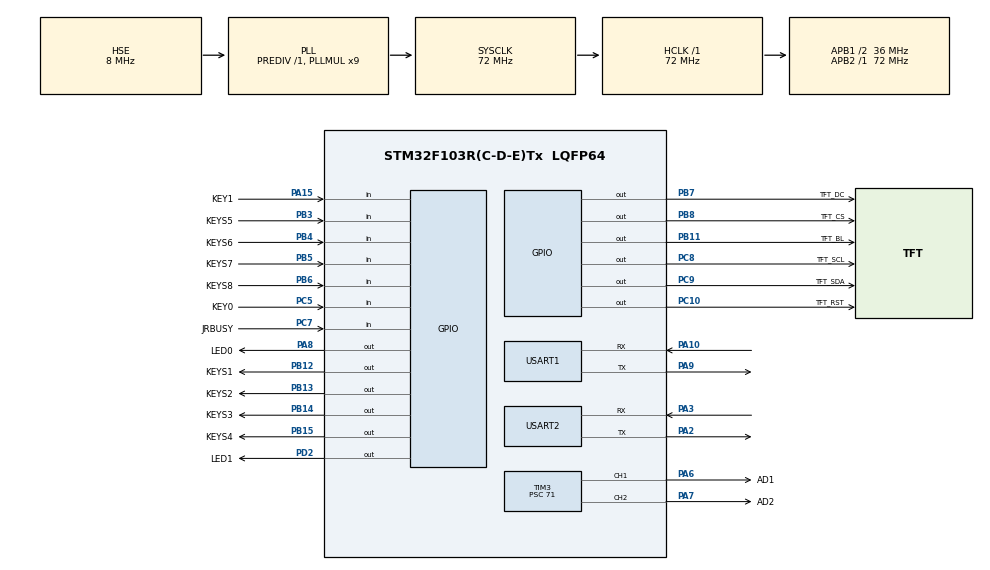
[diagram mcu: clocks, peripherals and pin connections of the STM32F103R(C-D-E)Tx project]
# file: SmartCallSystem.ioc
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Mcu.Family=STM32F1
Mcu.Name=STM32F103R(C-D-E)Tx
Mcu.Package=LQFP64
NVIC.PriorityGroup=NVIC_PRIORITYGROUP_4
PA0-WKUP.Mode=SYS_WakeUp0
PA0-WKUP.Signal=SYS_WKUP
PA10.Mode=Asynchronous
PA10.Signal=USART1_RX
PA13.Mode=Serial_Wire
PA13.Signal=SYS_JTMS-SWDIO
PA14.Mode=Serial_Wire
PA14.Signal=SYS_JTCK-SWCLK
PA15.GPIO_Label=KEY1
PA15.Signal=GPIO_Input
PA2.Mode=Asynchronous
PA2.Signal=USART2_TX
PA3.Mode=Asynchronous
PA3.Signal=USART2_RX
PA6.GPIO_Label=AD1
PA6.GPIO_ModeDefaultPP=GPIO_MODE_AF_PP
PA6.GPIO_Speed=GPIO_SPEED_FREQ_HIGH
PA6.Signal=S_TIM3_CH1
PA7.GPIO_Label=AD2
PA7.GPIO_ModeDefaultPP=GPIO_MODE_AF_PP
PA7.GPIO_Speed=GPIO_SPEED_FREQ_HIGH
PA7.Signal=S_TIM3_CH2
PA8.GPIO_Label=LED0
PA8.Signal=GPIO_Output
PA9.Mode=Asynchronous
PA9.Signal=USART1_TX
PB11.GPIO_Label=TFT_BL
PB11.Signal=GPIO_Output
PB12.GPIO_Label=KEYS1
PB12.GPIO_ModeDefaultOutputPP=GPIO_MODE_OUTPUT_PP
PB12.PinState=GPIO_PIN_SET
PB12.Signal=GPIO_Output
PB13.GPIO_Label=KEYS2
PB13.PinState=GPIO_PIN_SET
PB13.Signal=GPIO_Output
PB14.GPIO_Label=KEYS3
PB14.PinState=GPIO_PIN_SET
PB14.Signal=GPIO_Output
PB15.GPIO_Label=KEYS4
PB15.PinState=GPIO_PIN_SET
PB15.Signal=GPIO_Output
PB3.GPIO_Label=KEYS5
PB3.Signal=GPIO_Input
PB4.GPIO_Label=KEYS6
PB4.Signal=GPIO_Input
PB5.GPIO_Label=KEYS7
PB5.Signal=GPIO_Input
PB6.GPIO_Label=KEYS8
PB6.Signal=GPIO_Input
PB7.GPIO_Label=TFT_DC
PB7.Signal=GPIO_Output
PB8.GPIO_Label=TFT_CS
PB8.Signal=GPIO_Output
PC10.GPIO_Label=TFT_RST
PC10.Signal=GPIO_Output
PC14-OSC32_IN.Mode=LSE-External-Oscillator
PC14-OSC32_IN.Signal=RCC_OSC32_IN
PC15-OSC32_OUT.Mode=LSE-External-Oscillator
PC15-OSC32_OUT.Signal=RCC_OSC32_OUT
PC5.GPIO_Label=KEY0
PC5.Signal=GPIO_Input
PC7.GPIO_Label=JRBUSY
PC7.GPIO_PuPd=GPIO_PULLDOWN
PC7.Signal=GPIO_Input
PC8.GPIO_Label=TFT_SCL
PC8.Signal=GPIO_Output
PC9.GPIO_Label=TFT_SDA
PC9.Signal=GPIO_Output
PD0-OSC_IN.Mode=HSE-External-Oscillator
PD0-OSC_IN.Signal=RCC_OSC_IN
PD1-OSC_OUT.Mode=HSE-External-Oscillator
PD1-OSC_OUT.Signal=RCC_OSC_OUT
PD2.GPIO_Label=LED1
PD2.Signal=GPIO_Output
ProjectManager.HeapSize=0x200
ProjectManager.StackSize=0x400
ProjectManager.TargetToolchain=MDK-ARM V5.32
RCC.AHBFreq_Value=72000000
RCC.APB1CLKDivider=RCC_HCLK_DIV2
RCC.APB1Freq_Value=36000000
RCC.APB1TimFreq_Value=72000000
RCC.APB2Freq_Value=72000000
RCC.APB2TimFreq_Value=72000000
RCC.HCLKFreq_Value=72000000
RCC.PLLMUL=RCC_PLL_MUL9
RCC.PLLSourceVirtual=RCC_PLLSOURCE_HSE
RCC.SYSCLKFreq_VALUE=72000000
RCC.SYSCLKSource=RCC_SYSCLKSOURCE_PLLCLK
RCC.USBFreq_Value=72000000
SH.S_TIM3_CH1.0=TIM3_CH1,PWM Generation1 CH1
SH.S_TIM3_CH2.0=TIM3_CH2,PWM Generation2 CH2
TIM3.Channel-PWM\ Generation1\ CH1=TIM_CHANNEL_1
TIM3.Channel-PWM\ Generation2\ CH2=TIM_CHANNEL_2
TIM3.Period=255
TIM3.Prescaler=71
USART1.VirtualMode=VM_ASYNC
USART2.VirtualMode=VM_ASYNC
board=custom

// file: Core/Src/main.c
/* USER CODE BEGIN Header */
/**
  ******************************************************************************
  * @file           : main.c
  * @brief          : Main program body
  ******************************************************************************
  * @attention
  *
  * Copyright (c) 2026 STMicroelectronics.
  * All rights reserved.
  *
  * This software is licensed under terms that can be found in the LICENSE file
  * in the root directory of this software component.
  * If no LICENSE file comes with this software, it is provided AS-IS.
  *
  ******************************************************************************
  */
/* USER CODE END Header */
#include "main.h"

/* USER CODE BEGIN Includes */
#include "st7735.h"
#include "keypad.h"
#include "esp8266.h"
#include "app_queue.h"
#include "app_key.h"
#include "ui_main.h"
#include "buzzer.h"
#include "jr6001.h"
#include "http_client.h"
/* USER CODE END Includes */

TIM_HandleTypeDef htim3;

UART_HandleTypeDef huart1;
UART_HandleTypeDef huart2;

void SystemClock_Config(void);
static void MX_GPIO_Init(void);
static void MX_USART1_UART_Init(void);
static void MX_USART2_UART_Init(void);
static void MX_TIM3_Init(void);

int main(void)
{

  /* MCU Configuration--------------------------------------------------------*/

  /* Reset of all peripherals, Initializes the Flash interface and the Systick. */
  HAL_Init();

  /* Configure the system clock */
  SystemClock_Config();

  /* Initialize all configured peripherals */
  MX_GPIO_Init();
  MX_USART1_UART_Init();
  MX_USART2_UART_Init();
  MX_TIM3_Init();
  /* USER CODE BEGIN 2 */
  ST7735_Init();

  /* 医生端离线闭环：本地队列 + 按键动作 + 主界面（顶栏显示 WiFi 状态） */
  KEYPAD_Init();
  QUEUE_Init();
  APPKEY_Init();
  BUZZER_Init();
  JR6001_Init();
  UIMain_Init();

  ESP8266_Init();
  HTTP_Init();
  /* USER CODE END 2 */

  /* Infinite loop */
  while (1)
  {

    /* USER CODE BEGIN 3 */
    ESP8266_Process();
    HTTP_Task();
    KEYPAD_Task();
    APPKEY_Task();
    UIMain_Task();
    BUZZER_Task();
    JR6001_Task();
    HAL_Delay(1U);
  }
  /* USER CODE END 3 */
}

void SystemClock_Config(void)
{
  RCC_OscInitTypeDef RCC_OscInitStruct = {0};
  RCC_ClkInitTypeDef RCC_ClkInitStruct = {0};

  /** Initializes the RCC Oscillators according to the specified parameters
  * in the RCC_OscInitTypeDef structure.
  */
  RCC_OscInitStruct.OscillatorType = RCC_OSCILLATORTYPE_HSE;
  RCC_OscInitStruct.HSEState = RCC_HSE_ON;
  RCC_OscInitStruct.HSEPredivValue = RCC_HSE_PREDIV_DIV1;
  RCC_OscInitStruct.HSIState = RCC_HSI_ON;
  RCC_OscInitStruct.PLL.PLLState = RCC_PLL_ON;
  RCC_OscInitStruct.PLL.PLLSource = RCC_PLLSOURCE_HSE;
  RCC_OscInitStruct.PLL.PLLMUL = RCC_PLL_MUL9;
  if (HAL_RCC_OscConfig(&RCC_OscInitStruct) != HAL_OK)
  {
    Error_Handler();
  }

  /** Initializes the CPU, AHB and APB buses clocks
  */
  RCC_ClkInitStruct.ClockType = RCC_CLOCKTYPE_HCLK|RCC_CLOCKTYPE_SYSCLK
                              |RCC_CLOCKTYPE_PCLK1|RCC_CLOCKTYPE_PCLK2;
  RCC_ClkInitStruct.SYSCLKSource = RCC_SYSCLKSOURCE_PLLCLK;
  RCC_ClkInitStruct.AHBCLKDivider = RCC_SYSCLK_DIV1;
  RCC_ClkInitStruct.APB1CLKDivider = RCC_HCLK_DIV2;
  RCC_ClkInitStruct.APB2CLKDivider = RCC_HCLK_DIV1;

  if (HAL_RCC_ClockConfig(&RCC_ClkInitStruct, FLASH_LATENCY_2) != HAL_OK)
  {
    Error_Handler();
  }
}

static void MX_TIM3_Init(void)
{

  TIM_MasterConfigTypeDef sMasterConfig = {0};
  TIM_OC_InitTypeDef sConfigOC = {0};

  htim3.Instance = TIM3;
  htim3.Init.Prescaler = 71;
  htim3.Init.CounterMode = TIM_COUNTERMODE_UP;
  htim3.Init.Period = 255;
  htim3.Init.ClockDivision = TIM_CLOCKDIVISION_DIV1;
  htim3.Init.AutoReloadPreload = TIM_AUTORELOAD_PRELOAD_DISABLE;
  if (HAL_TIM_PWM_Init(&htim3) != HAL_OK)
  {
    Error_Handler();
  }
  sMasterConfig.MasterOutputTrigger = TIM_TRGO_RESET;
  sMasterConfig.MasterSlaveMode = TIM_MASTERSLAVEMODE_DISABLE;
  if (HAL_TIMEx_MasterConfigSynchronization(&htim3, &sMasterConfig) != HAL_OK)
  {
    Error_Handler();
  }
  sConfigOC.OCMode = TIM_OCMODE_PWM1;
  sConfigOC.Pulse = 0;
  sConfigOC.OCPolarity = TIM_OCPOLARITY_HIGH;
  sConfigOC.OCFastMode = TIM_OCFAST_DISABLE;
  if (HAL_TIM_PWM_ConfigChannel(&htim3, &sConfigOC, TIM_CHANNEL_1) != HAL_OK)
  {
    Error_Handler();
  }
  if (HAL_TIM_PWM_ConfigChannel(&htim3, &sConfigOC, TIM_CHANNEL_2) != HAL_OK)
  {
    Error_Handler();
  }
  HAL_TIM_MspPostInit(&htim3);

}

static void MX_USART1_UART_Init(void)
{

  huart1.Instance = USART1;
  huart1.Init.BaudRate = 115200;
  huart1.Init.WordLength = UART_WORDLENGTH_8B;
  huart1.Init.StopBits = UART_STOPBITS_1;
  huart1.Init.Parity = UART_PARITY_NONE;
  huart1.Init.Mode = UART_MODE_TX_RX;
  huart1.Init.HwFlowCtl = UART_HWCONTROL_NONE;
  huart1.Init.OverSampling = UART_OVERSAMPLING_16;
  if (HAL_UART_Init(&huart1) != HAL_OK)
  {
    Error_Handler();
  }

}

static void MX_USART2_UART_Init(void)
{

  huart2.Instance = USART2;
  huart2.Init.BaudRate = 115200;
  huart2.Init.WordLength = UART_WORDLENGTH_8B;
  huart2.Init.StopBits = UART_STOPBITS_1;
  huart2.Init.Parity = UART_PARITY_NONE;
  huart2.Init.Mode = UART_MODE_TX_RX;
  huart2.Init.HwFlowCtl = UART_HWCONTROL_NONE;
  huart2.Init.OverSampling = UART_OVERSAMPLING_16;
  if (HAL_UART_Init(&huart2) != HAL_OK)
  {
    Error_Handler();
  }

}

static void MX_GPIO_Init(void)
{
  GPIO_InitTypeDef GPIO_InitStruct = {0};

  /* GPIO Ports Clock Enable */
  __HAL_RCC_GPIOC_CLK_ENABLE();
  __HAL_RCC_GPIOD_CLK_ENABLE();
  __HAL_RCC_GPIOA_CLK_ENABLE();
  __HAL_RCC_GPIOB_CLK_ENABLE();

  /*Configure GPIO pin Output Level */
  HAL_GPIO_WritePin(GPIOB, TFT_BL_Pin|TFT_DC_Pin|TFT_CS_Pin, GPIO_PIN_RESET);

  /*Configure GPIO pin Output Level */
  HAL_GPIO_WritePin(GPIOB, KEYS1_Pin|KEYS2_Pin|KEYS3_Pin|KEYS4_Pin, GPIO_PIN_SET);

  /*Configure GPIO pin Output Level */
  HAL_GPIO_WritePin(GPIOC, TFT_SCL_Pin|TFT_SDA_Pin|TFT_RST_Pin, GPIO_PIN_RESET);

  /*Configure GPIO pin Output Level */
  HAL_GPIO_WritePin(LED0_GPIO_Port, LED0_Pin, GPIO_PIN_RESET);

  /*Configure GPIO pin Output Level */
  HAL_GPIO_WritePin(LED1_GPIO_Port, LED1_Pin, GPIO_PIN_RESET);

  /*Configure GPIO pin : KEY0_Pin */
  GPIO_InitStruct.Pin = KEY0_Pin;
  GPIO_InitStruct.Mode = GPIO_MODE_INPUT;
  GPIO_InitStruct.Pull = GPIO_NOPULL;
  HAL_GPIO_Init(KEY0_GPIO_Port, &GPIO_InitStruct);

  /*Configure GPIO pins : TFT_BL_Pin KEYS1_Pin KEYS2_Pin KEYS3_Pin
                           KEYS4_Pin TFT_DC_Pin TFT_CS_Pin */
  GPIO_InitStruct.Pin = TFT_BL_Pin|KEYS1_Pin|KEYS2_Pin|KEYS3_Pin
                          |KEYS4_Pin|TFT_DC_Pin|TFT_CS_Pin;
  GPIO_InitStruct.Mode = GPIO_MODE_OUTPUT_PP;
  GPIO_InitStruct.Pull = GPIO_NOPULL;
  GPIO_InitStruct.Speed = GPIO_SPEED_FREQ_LOW;
  HAL_GPIO_Init(GPIOB, &GPIO_InitStruct);

  /*Configure GPIO pin : JRBUSY_Pin */
  GPIO_InitStruct.Pin = JRBUSY_Pin;
  GPIO_InitStruct.Mode = GPIO_MODE_INPUT;
  GPIO_InitStruct.Pull = GPIO_PULLDOWN;
  HAL_GPIO_Init(JRBUSY_GPIO_Port, &GPIO_InitStruct);

  /*Configure GPIO pins : TFT_SCL_Pin TFT_SDA_Pin TFT_RST_Pin */
  GPIO_InitStruct.Pin = TFT_SCL_Pin|TFT_SDA_Pin|TFT_RST_Pin;
  GPIO_InitStruct.Mode = GPIO_MODE_OUTPUT_PP;
  GPIO_InitStruct.Pull = GPIO_NOPULL;
  GPIO_InitStruct.Speed = GPIO_SPEED_FREQ_LOW;
  HAL_GPIO_Init(GPIOC, &GPIO_InitStruct);

  /*Configure GPIO pin : LED0_Pin */
  GPIO_InitStruct.Pin = LED0_Pin;
  GPIO_InitStruct.Mode = GPIO_MODE_OUTPUT_PP;
  GPIO_InitStruct.Pull = GPIO_NOPULL;
  GPIO_InitStruct.Speed = GPIO_SPEED_FREQ_LOW;
  HAL_GPIO_Init(LED0_GPIO_Port, &GPIO_InitStruct);

  /*Configure GPIO pin : KEY1_Pin */
  GPIO_InitStruct.Pin = KEY1_Pin;
  GPIO_InitStruct.Mode = GPIO_MODE_INPUT;
  GPIO_InitStruct.Pull = GPIO_NOPULL;
  HAL_GPIO_Init(KEY1_GPIO_Port, &GPIO_InitStruct);

  /*Configure GPIO pin : LED1_Pin */
  GPIO_InitStruct.Pin = LED1_Pin;
  GPIO_InitStruct.Mode = GPIO_MODE_OUTPUT_PP;
  GPIO_InitStruct.Pull = GPIO_NOPULL;
  GPIO_InitStruct.Speed = GPIO_SPEED_FREQ_LOW;
  HAL_GPIO_Init(LED1_GPIO_Port, &GPIO_InitStruct);

  /*Configure GPIO pins : KEYS5_Pin KEYS6_Pin KEYS7_Pin KEYS8_Pin */
  GPIO_InitStruct.Pin = KEYS5_Pin|KEYS6_Pin|KEYS7_Pin|KEYS8_Pin;
  GPIO_InitStruct.Mode = GPIO_MODE_INPUT;
  GPIO_InitStruct.Pull = GPIO_NOPULL;
  HAL_GPIO_Init(GPIOB, &GPIO_InitStruct);

}

void Error_Handler(void)
{
  __disable_irq();
  while (1)
  {
  }
}
